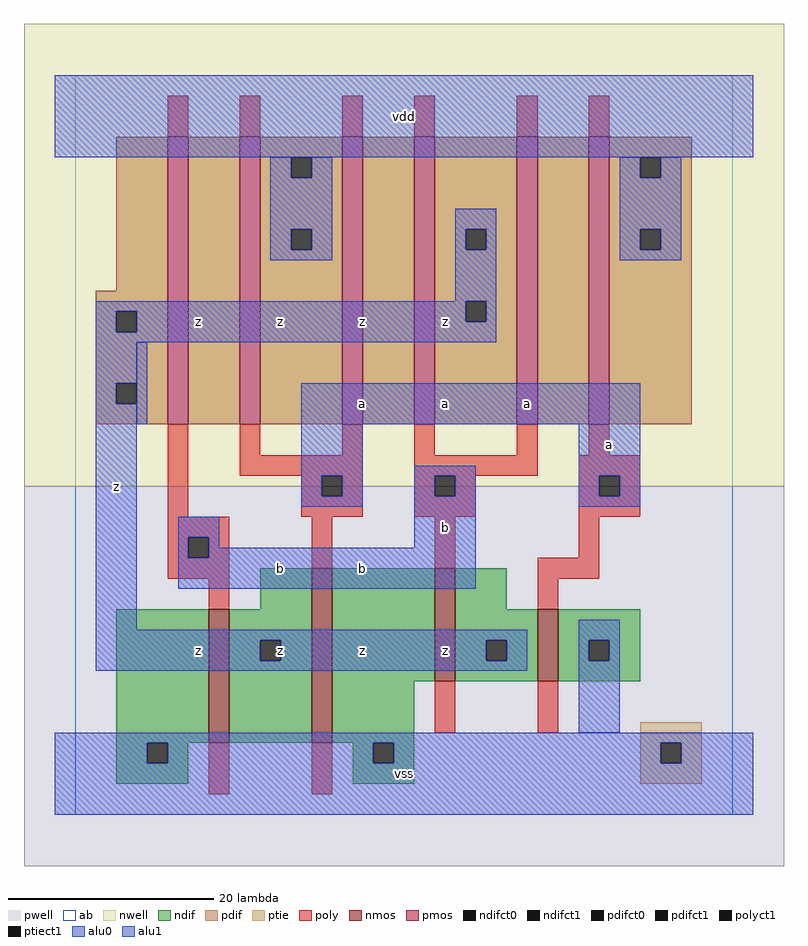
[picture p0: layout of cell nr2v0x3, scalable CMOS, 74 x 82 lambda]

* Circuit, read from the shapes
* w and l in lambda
.subckt nr2v0x3 a b vdd vss z
M1 z b vss vss nfet w=13 l=2
M2 vss a z vss nfet w=17 l=2
M3 z b vss vss nfet w=11 l=2
M4 vss a z vss nfet w=7 l=2
M5 n1 b z n2 pfet w=28 l=2
M6 vdd a n1 n2 pfet w=28 l=2
M7 n3 a vdd n2 pfet w=28 l=2
M8 z b n3 n2 pfet w=28 l=2
M9 n4 b z n2 pfet w=28 l=2
M10 vdd a n4 n2 pfet w=28 l=2
.ends

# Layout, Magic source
magic
tech scmos
<< ab >>
rect 0 0 64 72
<< nwell >>
rect -5 32 69 77
<< pwell >>
rect -5 -5 69 32
<< poly >>
rect 9 66 11 70
rect 16 66 18 70
rect 26 66 28 70
rect 33 66 35 70
rect 43 66 45 70
rect 50 66 52 70
rect 9 29 11 38
rect 16 35 18 38
rect 26 35 28 38
rect 16 33 28 35
rect 22 31 24 33
rect 26 31 28 33
rect 22 29 28 31
rect 33 35 35 38
rect 43 35 45 38
rect 50 35 52 38
rect 33 33 45 35
rect 49 33 55 35
rect 33 31 35 33
rect 37 31 39 33
rect 33 29 39 31
rect 49 31 51 33
rect 53 31 55 33
rect 49 29 55 31
rect 9 27 15 29
rect 9 25 11 27
rect 13 25 15 27
rect 9 23 15 25
rect 23 24 25 29
rect 35 24 37 29
rect 49 25 51 29
rect 13 20 15 23
rect 45 23 51 25
rect 45 20 47 23
rect 35 8 37 13
rect 45 8 47 13
rect 13 2 15 7
rect 23 2 25 7
<< ndif >>
rect 18 20 23 24
rect 4 7 13 20
rect 15 17 23 20
rect 15 15 18 17
rect 20 15 23 17
rect 15 7 23 15
rect 25 13 35 24
rect 37 20 42 24
rect 37 17 45 20
rect 37 15 40 17
rect 42 15 45 17
rect 37 13 45 15
rect 47 17 55 20
rect 47 15 50 17
rect 52 15 55 17
rect 47 13 55 15
rect 25 7 33 13
rect 4 5 7 7
rect 9 5 11 7
rect 4 3 11 5
rect 27 5 29 7
rect 31 5 33 7
rect 27 3 33 5
<< pdif >>
rect 4 51 9 66
rect 2 49 9 51
rect 2 47 4 49
rect 6 47 9 49
rect 2 42 9 47
rect 2 40 4 42
rect 6 40 9 42
rect 2 38 9 40
rect 11 38 16 66
rect 18 64 26 66
rect 18 62 21 64
rect 23 62 26 64
rect 18 57 26 62
rect 18 55 21 57
rect 23 55 26 57
rect 18 38 26 55
rect 28 38 33 66
rect 35 57 43 66
rect 35 55 38 57
rect 40 55 43 57
rect 35 50 43 55
rect 35 48 38 50
rect 40 48 43 50
rect 35 38 43 48
rect 45 38 50 66
rect 52 64 60 66
rect 52 62 55 64
rect 57 62 60 64
rect 52 57 60 62
rect 52 55 55 57
rect 57 55 60 57
rect 52 38 60 55
<< alu1 >>
rect -2 64 66 72
rect 37 57 41 59
rect 37 55 38 57
rect 40 55 41 57
rect 37 50 41 55
rect 2 49 38 50
rect 2 47 4 49
rect 6 48 38 49
rect 40 48 41 50
rect 6 47 41 48
rect 2 46 41 47
rect 2 42 6 46
rect 2 40 4 42
rect 2 18 6 40
rect 22 38 55 42
rect 22 33 28 38
rect 22 31 24 33
rect 26 31 28 33
rect 22 30 28 31
rect 33 33 39 34
rect 33 31 35 33
rect 37 31 39 33
rect 10 27 14 29
rect 10 25 11 27
rect 13 26 14 27
rect 33 26 39 31
rect 49 33 55 38
rect 49 31 51 33
rect 53 31 55 33
rect 49 30 55 31
rect 13 25 39 26
rect 10 22 39 25
rect 2 17 44 18
rect 2 15 18 17
rect 20 15 40 17
rect 42 15 44 17
rect 2 14 44 15
rect -2 7 66 8
rect -2 5 7 7
rect 9 5 29 7
rect 31 5 57 7
rect 59 5 66 7
rect -2 0 66 5
<< ptie >>
rect 55 7 61 9
rect 55 5 57 7
rect 59 5 61 7
rect 55 3 61 5
<< nmos >>
rect 13 7 15 20
rect 23 7 25 24
rect 35 13 37 24
rect 45 13 47 20
<< pmos >>
rect 9 38 11 66
rect 16 38 18 66
rect 26 38 28 66
rect 33 38 35 66
rect 43 38 45 66
rect 50 38 52 66
<< polyct1 >>
rect 24 31 26 33
rect 35 31 37 33
rect 51 31 53 33
rect 11 25 13 27
<< ndifct0 >>
rect 50 15 52 17
<< ndifct1 >>
rect 18 15 20 17
rect 40 15 42 17
rect 7 5 9 7
rect 29 5 31 7
<< ptiect1 >>
rect 57 5 59 7
<< pdifct0 >>
rect 21 62 23 64
rect 21 55 23 57
rect 55 62 57 64
rect 55 55 57 57
<< pdifct1 >>
rect 4 47 6 49
rect 4 40 6 42
rect 38 55 40 57
rect 38 48 40 50
<< alu0 >>
rect 19 62 21 64
rect 23 62 25 64
rect 19 57 25 62
rect 53 62 55 64
rect 57 62 59 64
rect 19 55 21 57
rect 23 55 25 57
rect 19 54 25 55
rect 53 57 59 62
rect 53 55 55 57
rect 57 55 59 57
rect 53 54 59 55
rect 6 38 7 46
rect 49 17 53 19
rect 49 15 50 17
rect 52 15 53 17
rect 49 8 53 15
<< labels >>
rlabel alu1 12 16 12 16 6 z
rlabel alu1 4 32 4 32 6 z
rlabel alu1 12 48 12 48 6 z
rlabel alu1 20 16 20 16 6 z
rlabel alu1 28 16 28 16 6 z
rlabel alu1 20 24 20 24 6 b
rlabel alu1 28 24 28 24 6 b
rlabel alu1 28 40 28 40 6 a
rlabel alu1 20 48 20 48 6 z
rlabel alu1 28 48 28 48 6 z
rlabel alu1 32 4 32 4 6 vss
rlabel alu1 36 16 36 16 6 z
rlabel alu1 36 28 36 28 6 b
rlabel alu1 44 40 44 40 6 a
rlabel alu1 36 40 36 40 6 a
rlabel alu1 36 48 36 48 6 z
rlabel alu1 32 68 32 68 6 vdd
rlabel alu1 52 36 52 36 6 a
<< end >>
